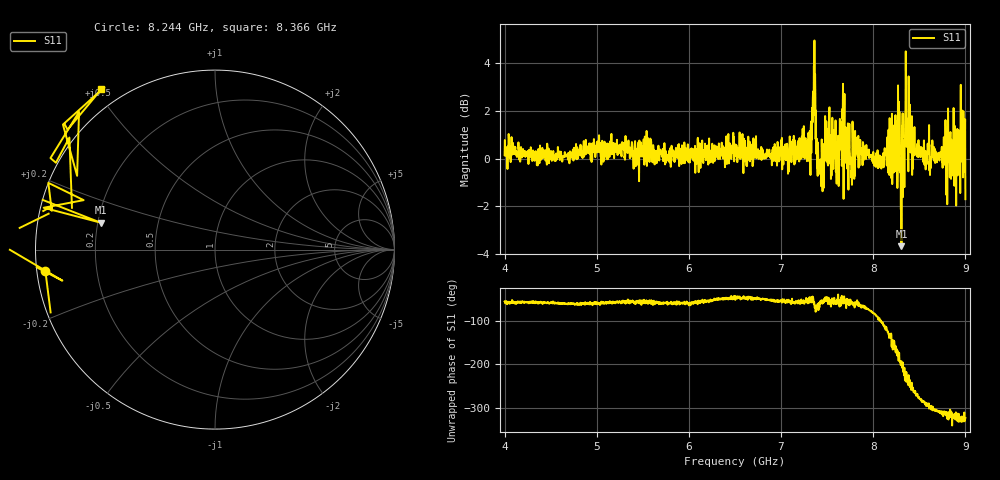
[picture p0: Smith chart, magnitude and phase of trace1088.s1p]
! Created with skrf 1.8.0 (http://scikit-rf.org).
# Hz S RI R 50.0
!freq ReS11 ImS11
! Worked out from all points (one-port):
!   1601 points, 4 GHz to 9 GHz, reference 50 ohm
!   lowest |S11| = -3.7 dB at 8.306 GHz (marker M1), VSWR 4.80, Z = 10.6 + j5.56 ohm
!   |S11| at or under -10 dB: nowhere
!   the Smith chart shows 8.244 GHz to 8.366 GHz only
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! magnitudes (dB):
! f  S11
! 4 GHz  0.2
! 4.625 GHz  -0.1
! 5.25 GHz  0.2
! 5.875 GHz  0.1
! 6.5 GHz  0.2
! 7.125 GHz  0.3
! 7.294 GHz  0.3
! 7.316 GHz  0.1
! 7.353 GHz  1.8
! 7.369 GHz  3.5
! 7.4 GHz  0.7
! 7.428 GHz  0.0
! 7.503 GHz  0.9
! 7.606 GHz  0.5
! 7.675 GHz  1.2
! 7.75 GHz  -0.2
! 7.828 GHz  0.2
! 8.075 GHz  0.1
! 8.262 GHz  -1.2
! 8.306 GHz  -3.7
! 8.319 GHz  1.9
! 8.334 GHz  0.7
! 8.375 GHz  1.3
! 8.447 GHz  1.3
! 8.556 GHz  -0.3
! 8.875 GHz  0.3
! 8.972 GHz  0.7
! 9 GHz  -1.7
